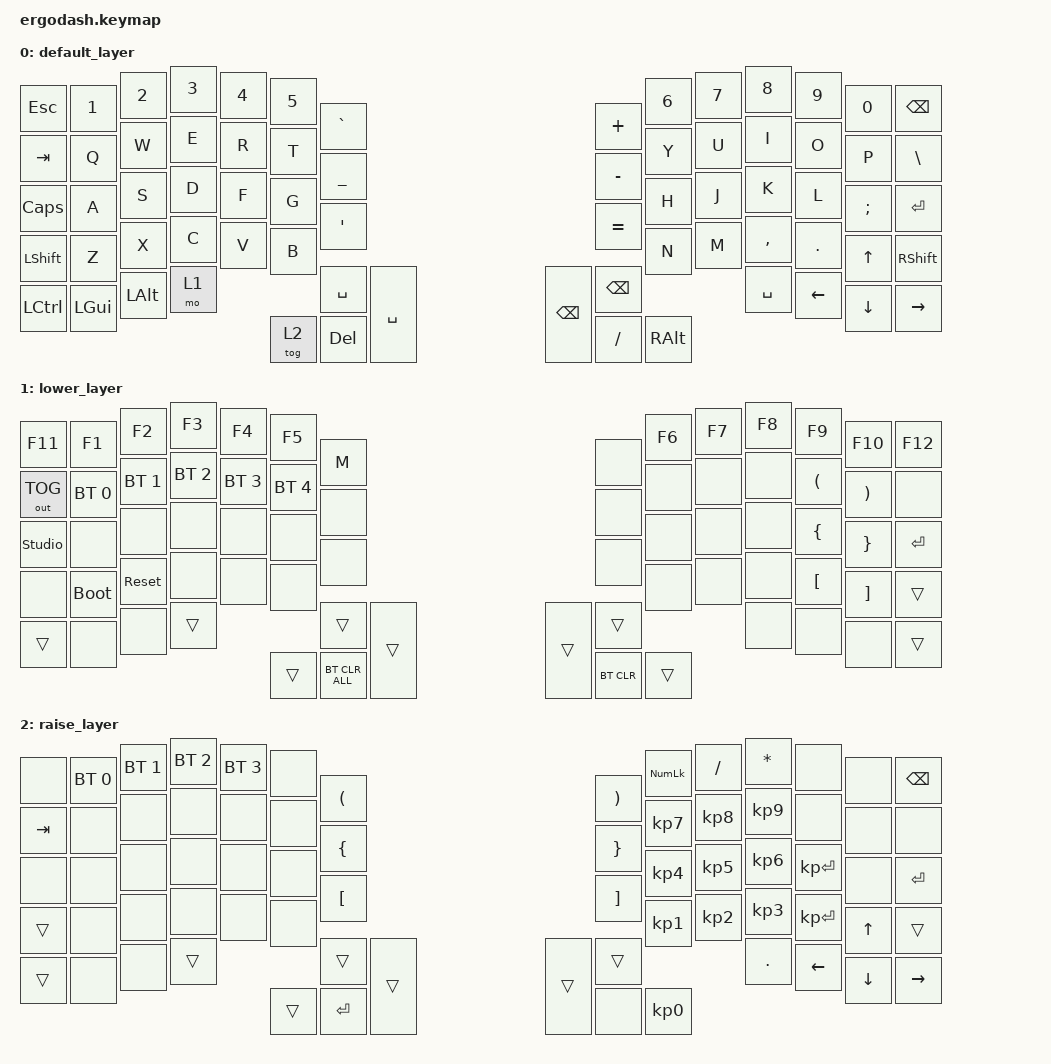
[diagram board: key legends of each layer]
/*
 * Copyright (c) 2020 The ZMK Contributors
 *
 * SPDX-License-Identifier: MIT
 */

#include <behaviors.dtsi>
#include <dt-bindings/zmk/bt.h>
#include <dt-bindings/zmk/keys.h>
#include <dt-bindings/zmk/outputs.h>

#define DEFAULT 0
#define LOWER   1
#define RAISE   2

/ {
    keymap {
        compatible = "zmk,keymap";

        default_layer {
            /* QWERTY
 * .----------------------------------------------------------------------------------------------------------------------.
 * |  `   |   1  |   2  |   3  |   4  |   5  |  [   |                    |  ]   |   6  |   7  |   8  |   9  |   0  | PScr |
 * |------+------+------+------+------+------+------+--------------------+------+------+------+------+------+------+------|
 * | ESC  |   Q  |   W  |   E  |   R  |   T  |  -   |                    |  =   |   Y  |   U  |   I  |   O  |   P  |  \   |
 * |------+------+------+------+------+------+------+--------------------+------+------+------+------+------+------+------|
 * | Tab  |   A  |   S  |   D  |   F  |   G  | Del  |                    | Bksp |   H  |   J  |   K  |   L  |   ;  |  '   |
 * |------+------+------+------+------+------+---------------------------+------+------+------+------+------+------+------|
 * | Shift|   Z  |   X  |   C  |   V  |   B  | End  |                    | Home |   N  |   M  |   ,  |   .  |   /  | Shift|
 * |-------------+------+------+------+------+------+------+------+------+------+------+------+------+------+-------------|
 * | Ctrl |      | PGDN | Win  |||||||| Alt  | Space| Lower|||||||| Raise| Enter| RAlt ||||||||      | PGUP | Ins  | RCtrl|
 * .----------------------------------------------------------------------------------------------------------------------.
 */

            bindings = <
&kp ESCAPE  &kp NUMBER_1  &kp N2        &kp N3  &kp N4  &kp N5  &kp GRAVE                             &kp PLUS   &kp N6  &kp N7    &kp N8     &kp N9          &kp N0          &kp BACKSPACE
&kp TAB     &kp Q         &kp W         &kp E   &kp R   &kp T   &kp UNDER                             &kp MINUS  &kp Y   &kp U     &kp I      &kp O           &kp P           &kp BSLH
&kp CAPS    &kp A         &kp S         &kp D   &kp F   &kp G   &kp SQT                               &kp EQUAL  &kp H   &kp J     &kp K      &kp L           &kp SEMI        &kp ENTER
&kp LSHFT   &kp Z         &kp X         &kp C   &kp V   &kp B               &kp SPACE  &kp BACKSPACE             &kp N   &kp M     &kp COMMA  &kp DOT         &kp UP_ARROW    &kp RSHFT
&kp LCTRL   &kp LGUI      &kp LEFT_ALT  &mo 1   &tog 2          &kp DELETE  &kp SPACE  &kp BACKSPACE  &kp SLASH          &kp RALT  &kp SPACE  &kp LEFT_ARROW  &kp DOWN_ARROW  &kp RIGHT_ARROW
            >;
        };

        lower_layer {
            /* .----------------------------------------------------------------------------------------------------------------------.
 * |  F11 |  F1  |  F2  |  F3  |  F4  |  F5  |      |                    |      |  F6  |  F7  |  F8  |  F9  |  F10 |  F12 |
 * |------+------+------+------+------+------+------+--------------------+------+------+------+------+------+------+------|
 * |      |      |      |      |      |      |      |                    |      |      |      |      |      |      |      |
 * |------+------+------+------+------+------+------+--------------------+------+------+------+------+------+------+------|
 * |      |      |      |      |      |      |      |                    |      |      |      |      |      |      |      |
 * |------+------+------+------+------+------+---------------------------+------+------+------+------+------+------+------|
 * | Shift| Boot | Reset|      |      |      |      |                    |      |      |      |      |      |      | Shift|
 * |-------------+------+------+------+------+------+------+------+------+------+------+------+------+------+-------------|
 * | Ctlr |      |      |  Win |||||||| Alt  |      | Lower|||||||| Raise|      | RAlt ||||||||      |      |      | RCtrl|
 * .----------------------------------------------------------------------------------------------------------------------.
 */ /* FIXME boot and reset are not yet locale aware */
            bindings = <
&kp F11         &kp F1        &kp F2        &kp F3        &kp F4        &kp F5        &kp M                           &none       &kp F6  &kp F7  &kp F8  &kp F9                &kp F10                &kp F12
&out OUT_TOG    &bt BT_SEL 0  &bt BT_SEL 1  &bt BT_SEL 2  &bt BT_SEL 3  &bt BT_SEL 4  &none                           &none       &none   &none   &none   &kp LEFT_PARENTHESIS  &kp RIGHT_PARENTHESIS  &none
&studio_unlock  &none         &none         &none         &none         &none         &none                           &none       &none   &none   &none   &kp LEFT_BRACE        &kp RIGHT_BRACE        &kp ENTER
&none           &bootloader   &sys_reset    &none         &none         &none                         &trans  &trans              &none   &none   &none   &kp LEFT_BRACKET      &kp RIGHT_BRACKET      &trans
&trans          &none         &none         &trans        &trans                      &bt BT_CLR_ALL  &trans  &trans  &bt BT_CLR          &trans  &none   &none                 &none                  &trans
            >;
        };

        raise_layer {
            /* .----------------------------------------------------------------------------------------------------------------------.
 * |      | BT 0 | BT 1 | BT 2 | BT 3 |      | BTCL |                    |      |      |      |      |      |      |      |
 * |------+------+------+------+------+------+------+--------------------+------+------+------+------+------+------+------|
 * |      |      |      |      |      |      |      |                    |      |      |      |      |      |      |      |
 * |------+------+------+------+------+------+------+--------------------+------+------+------+------+------+------+------|
 * |      |      |      |      |      |      |      |                    |      |      |      |      |      |      |      |
 * |------+------+------+------+------+------+---------------------------+------+------+------+------+------+------+------|
 * | Shift|      |      |      |      |      |      |                    |      |      |      |      | Boot | Reset| Shift|
 * |-------------+------+------+------+------+------+------+------+------+------+------+------+------+------+-------------|
 * | Ctlr |      |      |  Win |||||||| Alt  |      | Lower|||||||| Raise|      | RAlt ||||||||      |      |      | RCtrl|
 * .----------------------------------------------------------------------------------------------------------------------.
 */ /* FIXME boot and reset are not yet locale aware */
            bindings = <
&none    &bt BT_SEL 0  &bt BT_SEL 1  &bt BT_SEL 2  &bt BT_SEL 3  &none  &kp LEFT_PARENTHESIS                  &kp RIGHT_PARENTHESIS  &kp KP_NUMLOCK   &kp SLASH        &kp ASTERISK     &none           &none           &kp BACKSPACE
&kp TAB  &none         &none         &none         &none         &none  &kp LEFT_BRACE                        &kp RIGHT_BRACE        &kp KP_NUMBER_7  &kp KP_NUMBER_8  &kp KP_NUMBER_9  &none           &none           &none
&none    &none         &none         &none         &none         &none  &kp LEFT_BRACKET                      &kp RIGHT_BRACKET      &kp KP_NUMBER_4  &kp KP_NUMBER_5  &kp KP_NUMBER_6  &kp KP_ENTER    &none           &kp ENTER
&trans   &none         &none         &none         &none         &none                        &trans  &trans                         &kp KP_NUMBER_1  &kp KP_NUMBER_2  &kp KP_NUMBER_3  &kp KP_ENTER    &kp UP_ARROW    &trans
&trans   &none         &none         &trans        &trans               &kp ENTER             &trans  &trans  &none                                   &kp KP_NUMBER_0  &kp DOT          &kp LEFT_ARROW  &kp DOWN_ARROW  &kp RIGHT_ARROW
            >;
        };
    };
};
